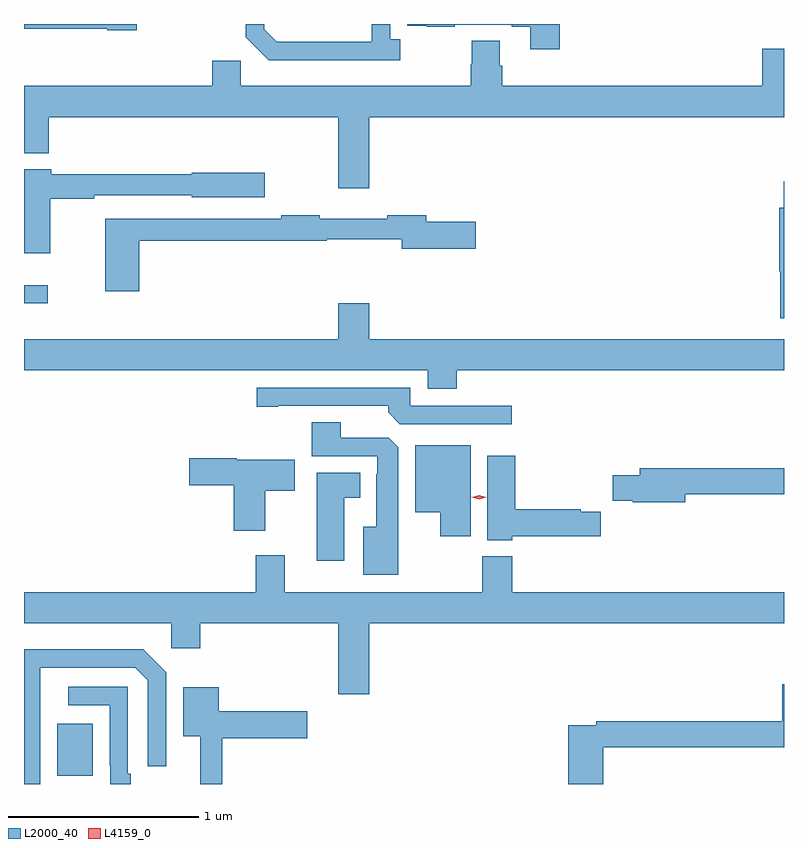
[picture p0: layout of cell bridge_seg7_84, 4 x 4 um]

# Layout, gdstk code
import gdstk
lib = gdstk.Library(unit=1e-6, precision=1e-09)
def R(c, l, rs):  # rectangles x0, y0, x1, y1
    for r in rs: c.add(gdstk.rectangle(r[:2], r[2:], *l))
def P(c, l, *ps):  # polygons
    for p in ps: c.add(gdstk.Polygon(p, *l))
L2000_40 = (2000, 40)
L4159_0 = (4159, 0)

bridge_seg7_84 = lib.new_cell('bridge_seg7_84')
R(bridge_seg7_84, L2000_40, [(1086.605,1014.465,1086.793,1014.739), (1086.431,1016.952,1086.556,1017.048)])
P(bridge_seg7_84, L2000_40, [(1087.024,1018.422),(1086.431,1018.422),(1086.431,1018.398),(1086.87,1018.398),(1086.87,1018.39),(1087.024,1018.39)],
  [(1088.41,1018.342),(1088.358,1018.342),(1088.358,1018.422),(1088.261,1018.422),(1088.261,1018.329),(1087.761,1018.329),(1087.695,1018.395),(1087.695,1018.422),(1087.599,1018.422),(1087.599,1018.353),(1087.72,1018.232),(1088.41,1018.232)],
  [(1089.251,1018.422),(1088.449,1018.422),(1088.449,1018.413),(1088.551,1018.413),(1088.551,1018.407),(1088.699,1018.407),(1088.699,1018.419),(1088.999,1018.419),(1088.999,1018.407),(1089.095,1018.407),(1089.095,1018.29),(1089.251,1018.29)],
  [(1088.248,1017.932),(1090.431,1017.932),(1090.431,1018.291),(1090.316,1018.291),(1090.316,1018.096),(1088.948,1018.096),(1088.948,1018.202),(1088.935,1018.202),(1088.935,1018.334),(1088.788,1018.334),(1088.788,1018.209),(1088.783,1018.209),(1088.783,1018.096),(1087.572,1018.096),(1087.572,1018.228),(1087.421,1018.228),(1087.421,1018.096),(1086.431,1018.096),(1086.431,1017.743),(1086.56,1017.743),(1086.56,1017.932),(1088.084,1017.932),(1088.084,1017.558),(1088.248,1017.558)],
  [(1086.57,1017.502),(1086.8,1017.502),(1086.8,1017.522),(1087.314,1017.522),(1087.314,1017.509),(1087.699,1017.509),(1087.699,1017.639),(1087.314,1017.639),(1087.314,1017.631),(1086.575,1017.631),(1086.575,1017.658),(1086.431,1017.658),(1086.431,1017.216),(1086.57,1017.216)],
  [(1090.431,1017.595),(1090.43,1017.595),(1090.43,1017.456),(1090.406,1017.456),(1090.406,1017.12),(1090.411,1017.12),(1090.411,1016.874),(1090.431,1016.874)],
  [(1087.037,1017.28),(1088.024,1017.28),(1088.024,1017.288),(1088.42,1017.288),(1088.42,1017.238),(1088.809,1017.238),(1088.809,1017.38),(1088.548,1017.38),(1088.548,1017.416),(1088.344,1017.416),(1088.344,1017.397),(1087.988,1017.397),(1087.988,1017.416),(1087.786,1017.416),(1087.786,1017.396),(1086.859,1017.396),(1086.859,1017.015),(1087.037,1017.015)],
  [(1088.708,1016.6),(1090.431,1016.6),(1090.431,1016.764),(1088.248,1016.764),(1088.248,1016.953),(1088.084,1016.953),(1088.084,1016.764),(1086.431,1016.764),(1086.431,1016.6),(1088.555,1016.6),(1088.555,1016.501),(1088.708,1016.501)],
  [(1088.998,1016.412),(1088.463,1016.412),(1088.463,1016.508),(1087.656,1016.508),(1087.656,1016.407),(1087.768,1016.407),(1087.768,1016.412),(1088.348,1016.412),(1088.348,1016.378),(1088.409,1016.316),(1088.998,1016.316)],
  [(1088.401,1016.195),(1088.352,1016.244),(1088.098,1016.244),(1088.098,1016.327),(1087.946,1016.327),(1087.946,1016.148),(1088.289,1016.148),(1088.289,1016.051),(1088.285,1016.051),(1088.285,1015.777),(1088.216,1015.777),(1088.216,1015.523),(1088.401,1015.523)],
  [(1088.782,1016.206),(1088.489,1016.206),(1088.489,1015.853),(1088.621,1015.853),(1088.621,1015.725),(1088.782,1015.725)],
  [(1089,1015.726),(1089.467,1015.726),(1089.467,1015.856),(1089.362,1015.856),(1089.362,1015.868),(1089.017,1015.868),(1089.017,1016.149),(1088.87,1016.149),(1088.87,1015.706),(1089,1015.706)],
  [(1087.702,1015.966),(1087.855,1015.966),(1087.855,1016.128),(1087.551,1016.128),(1087.551,1016.136),(1087.302,1016.136),(1087.302,1015.994),(1087.535,1015.994),(1087.535,1015.755),(1087.702,1015.755)],
  [(1089.91,1015.948),(1090.431,1015.948),(1090.431,1016.084),(1089.671,1016.084),(1089.671,1016.048),(1089.529,1016.048),(1089.529,1015.914),(1089.634,1015.914),(1089.634,1015.906),(1089.91,1015.906)],
  [(1088.116,1015.928),(1088.2,1015.928),(1088.2,1016.059),(1087.973,1016.059),(1087.973,1015.596),(1088.116,1015.596)],
  [(1088.248,1015.268),(1090.431,1015.268),(1090.431,1015.432),(1089.002,1015.432),(1089.002,1015.621),(1088.842,1015.621),(1088.842,1015.432),(1087.804,1015.432),(1087.804,1015.627),(1087.652,1015.627),(1087.652,1015.432),(1086.431,1015.432),(1086.431,1015.268),(1087.206,1015.268),(1087.206,1015.137),(1087.358,1015.137),(1087.358,1015.268),(1088.084,1015.268),(1088.084,1014.894),(1088.248,1014.894)],
  [(1086.516,1014.835),(1086.517,1014.835),(1086.517,1015.035),(1087.017,1015.035),(1087.083,1014.969),(1087.083,1014.516),(1087.179,1014.516),(1087.179,1015.011),(1087.058,1015.132),(1086.431,1015.132),(1086.431,1014.422),(1086.516,1014.422)],
  [(1089.479,1014.616),(1090.431,1014.616),(1090.431,1014.946),(1090.421,1014.946),(1090.421,1014.752),(1089.442,1014.752),(1089.442,1014.732),(1089.296,1014.732),(1089.296,1014.422),(1089.479,1014.422)],
  [(1086.993,1014.475),(1086.978,1014.475),(1086.978,1014.933),(1086.663,1014.933),(1086.663,1014.837),(1086.882,1014.837),(1086.882,1014.517),(1086.885,1014.517),(1086.885,1014.422),(1086.993,1014.422)],
  [(1087.475,1014.662),(1087.921,1014.662),(1087.921,1014.804),(1087.456,1014.804),(1087.456,1014.931),(1087.268,1014.931),(1087.268,1014.674),(1087.358,1014.674),(1087.358,1014.422),(1087.475,1014.422)])
P(bridge_seg7_84, L4159_0, [(1088.826,1015.921),(1088.788,1015.931),(1088.788,1015.932),(1088.788,1015.932),(1088.827,1015.941),(1088.864,1015.931),(1088.865,1015.93),(1088.864,1015.93)])

lib.write_gds('bridge_seg7_84.gds')
